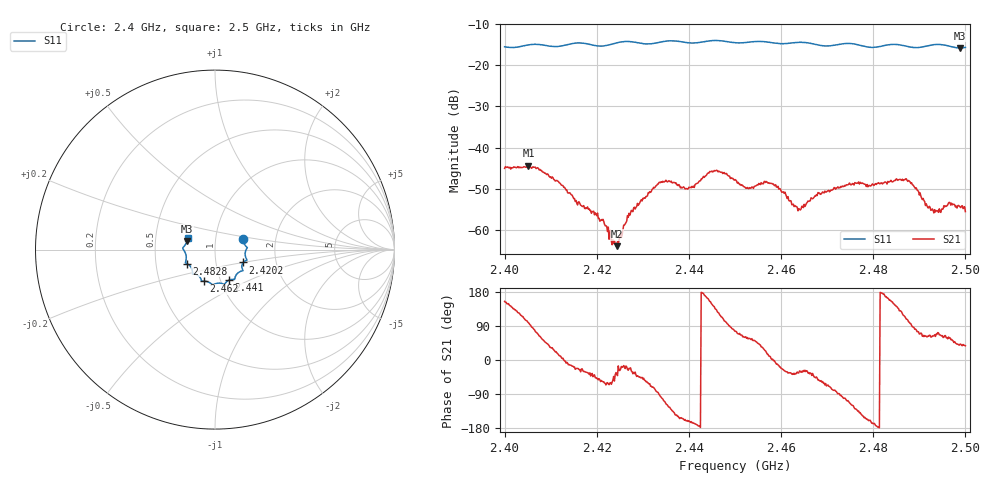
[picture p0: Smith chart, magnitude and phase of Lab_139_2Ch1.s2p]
# Hz S RI R 50
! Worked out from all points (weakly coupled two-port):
!   601 points, 2.4 GHz to 2.5 GHz, reference 50 ohm
!   highest |S21| = -44.41 dB at 2.4052 GHz (marker M1); lowest = -64.0 dB at 2.4243 GHz (marker M2)
!   lowest |S11| = -15.8 dB at 2.4988 GHz (marker M3), VSWR 1.39, Z = 36.3 + j3.43 ohm
!   |S11| at or under -10 dB: start of sweep to end of sweep
!   S12 and S22 are empty: the file has one direction only
!   S11 on the Smith chart (normalised r, x): 2.4 GHz: 1.36, +0.17; 2.4202 GHz: 1.35, -0.20; 2.441 GHz: 1.10, -0.39; 2.462 GHz: 0.83, -0.30; 2.4828 GHz: 0.72, -0.12; 2.5 GHz: 0.73, +0.09
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2.4e9  0.157 0.0609  -0.00505 0.0024  0 0  0 0
2.405167e9  0.1769 0.0147  -0.000891 0.00595  0 0  0 0
2.411667e9  0.168 -0.0263  0.00375 0.000977  0 0  0 0
2.416667e9  0.1775 -0.0592  0.0018 -0.000791  0 0  0 0
2.420167e9  0.1567 -0.0718  0.00106 -0.0012  0 0  0 0
2.424333e9  0.153 -0.1094  0.00051 -0.000375  0 0  0 0
2.427167e9  0.1553 -0.1176  0.00139 -0.000578  0 0  0 0
2.433333e9  0.1127 -0.152  0.000248 -0.00359  0 0  0 0
2.441e9  0.0769 -0.1705  -0.00331 -0.000761  0 0  0 0
2.4455e9  0.0525 -0.1937  -0.00408 0.00334  0 0  0 0
2.45e9  0.0271 -0.1868  0.00102 0.00396  0 0  0 0
2.452833e9  0.000551 -0.191  0.0018 0.00264  0 0  0 0
2.457833e9  -0.0241 -0.1878  0.00366 0.000229  0 0  0 0
2.462e9  -0.0614 -0.1759  0.00189 -0.00126  0 0  0 0
2.464e9  -0.073 -0.1763  0.00155 -0.000856  0 0  0 0
2.466667e9  -0.0773 -0.1672  0.00183 -0.00159  0 0  0 0
2.482833e9  -0.1581 -0.0777  -0.00367 0.000837  0 0  0 0
2.483333e9  -0.1607 -0.0762  -0.00363 0.00123  0 0  0 0
2.4875e9  -0.1606 -0.0543  -0.00102 0.00374  0 0  0 0
2.493e9  -0.1782 0.00373  0.000776 0.00153  0 0  0 0
2.498833e9  -0.1563 0.0459  0.00142 0.00127  0 0  0 0
2.5e9  -0.1532 0.0621  0.00132 0.00101  0 0  0 0
